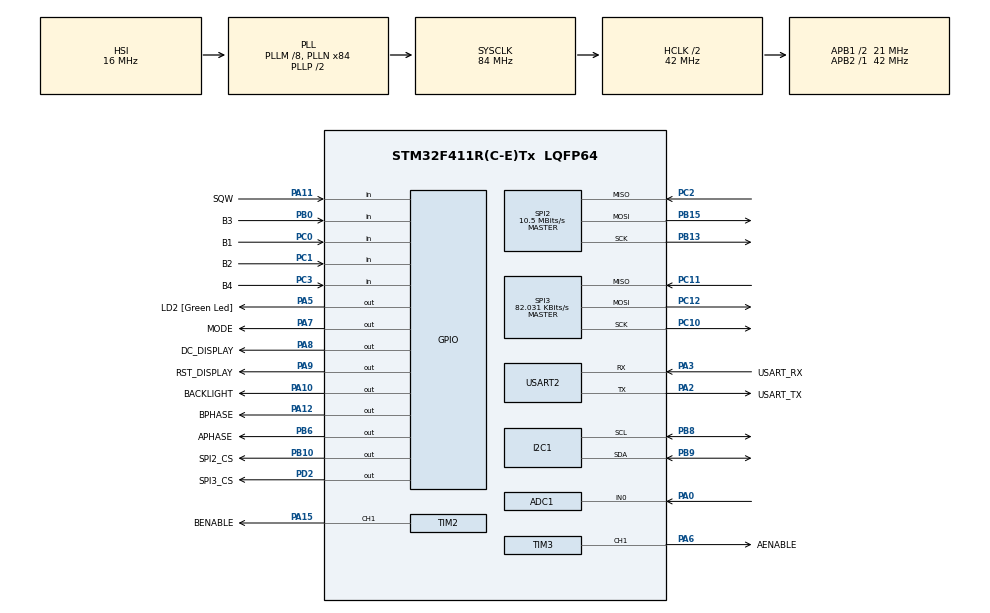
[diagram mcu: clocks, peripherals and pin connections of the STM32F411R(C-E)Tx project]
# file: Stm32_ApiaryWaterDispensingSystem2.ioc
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ADC1.Channel-0\#ChannelRegularConversion=ADC_CHANNEL_0
ADC1.NbrOfConversionFlag=1
ADC1.Rank-0\#ChannelRegularConversion=1
ADC1.SamplingTime-0\#ChannelRegularConversion=ADC_SAMPLETIME_3CYCLES
ADC1.master=1
Dma.MEMTOMEM.0.Direction=DMA_MEMORY_TO_MEMORY
Dma.MEMTOMEM.0.FIFOMode=DMA_FIFOMODE_ENABLE
Dma.MEMTOMEM.0.FIFOThreshold=DMA_FIFO_THRESHOLD_FULL
Dma.MEMTOMEM.0.Instance=DMA2_Stream0
Dma.MEMTOMEM.0.MemBurst=DMA_MBURST_SINGLE
Dma.MEMTOMEM.0.MemDataAlignment=DMA_MDATAALIGN_BYTE
Dma.MEMTOMEM.0.MemInc=DMA_MINC_ENABLE
Dma.MEMTOMEM.0.Mode=DMA_NORMAL
Dma.MEMTOMEM.0.PeriphBurst=DMA_PBURST_SINGLE
Dma.MEMTOMEM.0.PeriphDataAlignment=DMA_PDATAALIGN_BYTE
Dma.MEMTOMEM.0.PeriphInc=DMA_PINC_ENABLE
Dma.MEMTOMEM.0.Priority=DMA_PRIORITY_LOW
Dma.Request0=MEMTOMEM
FATFS._CODE_PAGE=852
FATFS._FS_TINY=0
FATFS._MAX_SS=512
FATFS._MIN_SS=512
FATFS._MULTI_PARTITION=0
FATFS._USE_CHMOD=0
FATFS._USE_EXPAND=0
FATFS._USE_FIND=0
FATFS._USE_MUTEX=1
FATFS._USE_TRIM=0
FREERTOS.BinarySemaphores01=BinarySemBme280,Dynamic,NULL;BinarySemBH1750,Dynamic,NULL;BinarySemRTC,Dynamic,NULL;BinarySemCounter,Dynamic,NULL;BinarySemSetAlarm,Dynamic,NULL;BinarySdCard,Dynamic,NULL;BinarySemINA219,Dynamic,NULL;BinaryDs3231,Dynamic,NULL;BinarySemIna219Bat,Dynamic,NULL;BinarySemSleep,Dynamic,NULL
FREERTOS.Mutexes01=MutexPrintf,Dynamic,NULL;MutexI2C,Dynamic,NULL;MutexRTC,Dynamic,NULL;MutexAlarm,Dynamic,NULL;MutexI2C2,Dynamic,NULL;MutexSdCard,Dynamic,NULL
FREERTOS.Queues01=QueueBme,5,BmeData_t,0,Dynamic,NULL,NULL;QueueBh1750,5,BHData_t,0,Dynamic,NULL,NULL;QueueRTCData,1,RTC_DateTypeDef,0,Dynamic,NULL,NULL;QueueRTCTime,5,RTC_TimeTypeDef,0,Dynamic,NULL,NULL;QueueCounterPump,1,CONFIG_MANAGER,0,Dynamic,NULL,NULL;QueueCounterAlarm,1,CONFIG_MANAGER,0,Dynamic,NULL,NULL;QueSDCARD,1,Data_Structure_t,0,Dynamic,NULL,NULL;QuequeBattery,2,INA219Data_t,0,Dynamic,NULL,NULL;QueDs3231Time,1,RTC_TimeTypeDef,0,Dynamic,NULL,NULL;QueueDs3231Date,1,RTC_DateTypeDef,0,Dynamic,NULL,NULL;QueuePV,1,INA219Data_t,0,Dynamic,NULL,NULL
FREERTOS.Tasks01=TaskRTC,24,2024,StartTaskRTC,Default,NULL,Dynamic,NULL,NULL;TaskBme280,25,512,StartTaskBme280,Default,NULL,Dynamic,NULL,NULL;TaskBH1750,24,512,StartTaskBH1750,Default,NULL,Dynamic,NULL,NULL;TaskSSD1306,24,4000,StartTaskSSD1306,Default,NULL,Dynamic,NULL,NULL;TaskPumpON,24,512,StartTaskPumpON,Default,NULL,Dynamic,NULL,NULL;TaskPumpOFF,24,256,StartTaskPumpOFF,Default,NULL,Dynamic,NULL,NULL;TaskCounterPump,24,1024,StartTaskCounterPump,Default,NULL,Dynamic,NULL,NULL;TaskAlarmCounte,24,512,StartTaskAlarmCounter,Default,NULL,Dynamic,NULL,NULL;TaskSdCard,24,3000,StartTaskSdCard,Default,NULL,Dynamic,NULL,NULL;TaskINA219,24,1024,StartTaskINA219,Default,NULL,Dynamic,NULL,NULL;TaskINA219PV,32,1024,StartTaskINA219PV,Default,NULL,Dynamic,NULL,NULL;TaskDS3231,40,1024,StartTaskDS3231,Default,NULL,Dynamic,NULL,NULL;TaskSleep,24,128,StartTaskSleep,Default,NULL,Dynamic,NULL,NULL
FREERTOS.Timers01=TimerBmeData,CallbackTimerBmeData,osTimerPeriodic,Default,NULL,Dynamic,NULL;TimerBh1750Data,CallbackTimerBh1750Data,osTimerPeriodic,Default,NULL,Dynamic,NULL;TimerRTC,CallbackTimerRTC,osTimerPeriodic,Default,NULL,Dynamic,NULL;TimerSDCard,CallbackTimerSDCard,osTimerPeriodic,Default,NULL,Dynamic,NULL;TimerINA219,CallbackTimerINA219,osTimerPeriodic,Default,NULL,Dynamic,NULL;TimerINA219Bat,CallbackTimerINA219Bat,osTimerPeriodic,Default,NULL,Dynamic,NULL;TIMER_Sleep,CallbackTimerSleep,osTimerPeriodic,Default,NULL,Dynamic,NULL
FREERTOS.configENABLE_FPU=1
FREERTOS.configMAX_TASK_NAME_LEN=20
FREERTOS.configTOTAL_HEAP_SIZE=75000
FREERTOS.configUSE_MALLOC_FAILED_HOOK=1
FREERTOS.configUSE_NEWLIB_REENTRANT=1
I2C1.I2C_Mode=I2C_Fast
Mcu.Family=STM32F4
Mcu.Name=STM32F411R(C-E)Tx
Mcu.Package=LQFP64
NVIC.PriorityGroup=NVIC_PRIORITYGROUP_4
NVIC.TIM1_UP_TIM10_IRQn=true\:15\:0\:false\:false\:true\:false\:false\:true\:true
NVIC.TimeBase=TIM1_UP_TIM10_IRQn
NVIC.TimeBaseIP=TIM10
PA0-WKUP.Signal=ADCx_IN0
PA10.GPIO_Label=BACKLIGHT
PA10.Signal=GPIO_Output
PA11.GPIO_Label=SQW
PA11.Signal=GPIO_Input
PA12.GPIO_Label=BPHASE
PA12.Signal=GPIO_Output
PA13.GPIO_Label=TMS
PA13.Mode=Serial_Wire
PA13.Signal=SYS_JTMS-SWDIO
PA14.GPIO_Label=TCK
PA14.Mode=Serial_Wire
PA14.Signal=SYS_JTCK-SWCLK
PA15.GPIO_Label=BENABLE
PA15.Signal=S_TIM2_CH1_ETR
PA2.GPIO_Label=USART_TX
PA2.Mode=Asynchronous
PA2.Signal=USART2_TX
PA3.GPIO_Label=USART_RX
PA3.Mode=Asynchronous
PA3.Signal=USART2_RX
PA5.GPIO_Label=LD2 [Green Led]
PA5.Signal=GPIO_Output
PA6.GPIO_Label=AENABLE
PA6.Signal=S_TIM3_CH1
PA7.GPIO_Label=MODE
PA7.Signal=GPIO_Output
PA8.GPIO_Label=DC_DISPLAY
PA8.Signal=GPIO_Output
PA9.GPIO_Label=RST_DISPLAY
PA9.Signal=GPIO_Output
PB0.GPIO_Label=B3
PB0.GPIO_PuPd=GPIO_PULLUP
PB0.Signal=GPIO_Input
PB10.GPIO_Label=SPI2_CS
PB10.GPIO_PuPd=GPIO_NOPULL
PB10.GPIO_Speed=GPIO_SPEED_FREQ_LOW
PB10.PinState=GPIO_PIN_RESET
PB10.Signal=GPIO_Output
PB13.Mode=Full_Duplex_Master
PB13.Signal=SPI2_SCK
PB15.Mode=Full_Duplex_Master
PB15.Signal=SPI2_MOSI
PB3.GPIO_Label=SWO
PB3.Signal=SYS_JTDO-SWO
PB6.GPIO_Label=APHASE
PB6.Signal=GPIO_Output
PB8.Mode=I2C
PB8.Signal=I2C1_SCL
PB9.Mode=I2C
PB9.Signal=I2C1_SDA
PC0.GPIO_Label=B1
PC0.GPIO_PuPd=GPIO_PULLUP
PC0.Signal=GPIO_Input
PC1.GPIO_Label=B2
PC1.GPIO_PuPd=GPIO_PULLUP
PC1.Signal=GPIO_Input
PC10.GPIO_PuPd=GPIO_NOPULL
PC10.Mode=Full_Duplex_Master
PC10.Signal=SPI3_SCK
PC11.GPIO_PuPd=GPIO_NOPULL
PC11.Mode=Full_Duplex_Master
PC11.Signal=SPI3_MISO
PC12.GPIO_PuPd=GPIO_NOPULL
PC12.Mode=Full_Duplex_Master
PC12.Signal=SPI3_MOSI
PC14-OSC32_IN.Mode=LSE-External-Oscillator
PC14-OSC32_IN.Signal=RCC_OSC32_IN
PC15-OSC32_OUT.Mode=LSE-External-Oscillator
PC15-OSC32_OUT.Signal=RCC_OSC32_OUT
PC2.Mode=Full_Duplex_Master
PC2.Signal=SPI2_MISO
PC3.GPIO_Label=B4
PC3.GPIO_PuPd=GPIO_PULLUP
PC3.Signal=GPIO_Input
PD2.GPIO_Label=SPI3_CS
PD2.Signal=GPIO_Output
PH0\ -\ OSC_IN.Mode=HSE-External-Clock-Source
PH0\ -\ OSC_IN.Signal=RCC_OSC_IN
PH1\ -\ OSC_OUT.Mode=HSE-External-Clock-Source
PH1\ -\ OSC_OUT.Signal=RCC_OSC_OUT
ProjectManager.HeapSize=0x400
ProjectManager.StackSize=0x800
ProjectManager.TargetToolchain=STM32CubeIDE
RCC.48MHZClocksFreq_Value=42000000
RCC.AHBCLKDivider=RCC_SYSCLK_DIV2
RCC.AHBFreq_Value=42000000
RCC.APB1CLKDivider=RCC_HCLK_DIV2
RCC.APB1Freq_Value=21000000
RCC.APB1TimFreq_Value=42000000
RCC.APB2Freq_Value=42000000
RCC.APB2TimFreq_Value=42000000
RCC.CortexFreq_Value=42000000
RCC.FLatency-AdvancedSettings=FLASH_LATENCY_1
RCC.HCLKFreq_Value=42000000
RCC.HSE_VALUE=8000000
RCC.HSI_VALUE=16000000
RCC.PLLM=8
RCC.PLLN=84
RCC.RCC_RTC_Clock_SourceVirtual=RCC_RTCCLKSOURCE_LSE
RCC.SYSCLKFreq_VALUE=84000000
RCC.SYSCLKSource=RCC_SYSCLKSOURCE_PLLCLK
RCC.VCOOutputFreq_Value=168000000
RTC.Date=30
RTC.DayLightSaving=RTC_DAYLIGHTSAVING_NONE
RTC.Format=RTC_FORMAT_BIN
RTC.Hours=7
RTC.Minutes=59
RTC.Month=RTC_MONTH_JULY
RTC.Seconds=30
RTC.StoreOperation=RTC_STOREOPERATION_RESET
RTC.WeekDay=RTC_WEEKDAY_TUESDAY
RTC.Year=24
SH.ADCx_IN0.0=ADC1_IN0,IN0
SH.S_TIM2_CH1_ETR.0=TIM2_CH1,PWM Generation1 CH1
SH.S_TIM3_CH1.0=TIM3_CH1,PWM Generation1 CH1
SPI2.CalculateBaudRate=10.5 MBits/s
SPI2.Direction=SPI_DIRECTION_2LINES
SPI2.Mode=SPI_MODE_MASTER
SPI2.VirtualType=VM_MASTER
SPI3.BaudRatePrescaler=SPI_BAUDRATEPRESCALER_256
SPI3.CalculateBaudRate=82.031 KBits/s
SPI3.Direction=SPI_DIRECTION_2LINES
SPI3.Mode=SPI_MODE_MASTER
SPI3.VirtualType=VM_MASTER
TIM2.Channel-PWM\ Generation1\ CH1=TIM_CHANNEL_1
TIM2.Period=99
TIM2.Prescaler=83
TIM2.TIM_MasterOutputTrigger=TIM_TRGO_UPDATE
TIM3.Channel-PWM\ Generation1\ CH1=TIM_CHANNEL_1
TIM3.Period=99
TIM3.Prescaler=83
TIM3.TIM_MasterOutputTrigger=TIM_TRGO_UPDATE
USART2.VirtualMode=VM_ASYNC
VP_FATFS_VS_Generic.Mode=User_defined
VP_FREERTOS_VS_CMSIS_V2.Mode=CMSIS_V2
VP_RTC_VS_RTC_Activate.Mode=RTC_Enabled
VP_RTC_VS_RTC_Calendar.Mode=RTC_Calendar
VP_SYS_VS_tim10.Mode=TIM10
VP_TIM2_VS_ClockSourceINT.Mode=Internal
VP_TIM3_VS_ClockSourceINT.Mode=Internal
board=NUCLEO-F411RE

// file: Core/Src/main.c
/* USER CODE BEGIN Header */
/**
  ******************************************************************************
  * @file           : main.c
  * @brief          : Main program body
  ******************************************************************************
  * @attention
  *
  * Copyright (c) 2024 STMicroelectronics.
  * All rights reserved.
  *
  * This software is licensed under terms that can be found in the LICENSE file
  * in the root directory of this software component.
  * If no LICENSE file comes with this software, it is provided AS-IS.
  *
  ******************************************************************************
  */
/* USER CODE END Header */
#include "main.h"
#include "cmsis_os.h"
#include "adc.h"
#include "dma.h"
#include "fatfs.h"
#include "i2c.h"
#include "rtc.h"
#include "spi.h"
#include "tim.h"
#include "usart.h"
#include "gpio.h"

/* USER CODE BEGIN Includes */
#include "button.h"
/* USER CODE END Includes */

void SystemClock_Config(void);
void MX_FREERTOS_Init(void);

int main(void)
{

  /* MCU Configuration--------------------------------------------------------*/

  /* Reset of all peripherals, Initializes the Flash interface and the Systick. */
  HAL_Init();

  /* Configure the system clock */
  SystemClock_Config();

  /* Initialize all configured peripherals */
  MX_GPIO_Init();
  MX_DMA_Init();
  MX_USART2_UART_Init();
  MX_I2C1_Init();
  MX_RTC_Init();
  MX_TIM3_Init();
  MX_SPI3_Init();
  MX_FATFS_Init();
  MX_TIM2_Init();
  MX_SPI2_Init();
  MX_ADC1_Init();

  /* Init scheduler */
  osKernelInitialize();  /* Call init function for freertos objects (in freertos.c) */
  MX_FREERTOS_Init();

  /* Start scheduler */
  osKernelStart();

  /* We should never get here as control is now taken by the scheduler */
  /* Infinite loop */
  while (1)
  {

  }
}

void SystemClock_Config(void)
{
  RCC_OscInitTypeDef RCC_OscInitStruct = {0};
  RCC_ClkInitTypeDef RCC_ClkInitStruct = {0};

  /** Configure the main internal regulator output voltage
  */
  __HAL_RCC_PWR_CLK_ENABLE();
  __HAL_PWR_VOLTAGESCALING_CONFIG(PWR_REGULATOR_VOLTAGE_SCALE1);

  /** Initializes the RCC Oscillators according to the specified parameters
  * in the RCC_OscInitTypeDef structure.
  */
  RCC_OscInitStruct.OscillatorType = RCC_OSCILLATORTYPE_HSI|RCC_OSCILLATORTYPE_LSE;
  RCC_OscInitStruct.LSEState = RCC_LSE_ON;
  RCC_OscInitStruct.HSIState = RCC_HSI_ON;
  RCC_OscInitStruct.HSICalibrationValue = RCC_HSICALIBRATION_DEFAULT;
  RCC_OscInitStruct.PLL.PLLState = RCC_PLL_ON;
  RCC_OscInitStruct.PLL.PLLSource = RCC_PLLSOURCE_HSI;
  RCC_OscInitStruct.PLL.PLLM = 8;
  RCC_OscInitStruct.PLL.PLLN = 84;
  RCC_OscInitStruct.PLL.PLLP = RCC_PLLP_DIV2;
  RCC_OscInitStruct.PLL.PLLQ = 4;
  if (HAL_RCC_OscConfig(&RCC_OscInitStruct) != HAL_OK)
  {
    Error_Handler();
  }

  /** Initializes the CPU, AHB and APB buses clocks
  */
  RCC_ClkInitStruct.ClockType = RCC_CLOCKTYPE_HCLK|RCC_CLOCKTYPE_SYSCLK
                              |RCC_CLOCKTYPE_PCLK1|RCC_CLOCKTYPE_PCLK2;
  RCC_ClkInitStruct.SYSCLKSource = RCC_SYSCLKSOURCE_PLLCLK;
  RCC_ClkInitStruct.AHBCLKDivider = RCC_SYSCLK_DIV2;
  RCC_ClkInitStruct.APB1CLKDivider = RCC_HCLK_DIV2;
  RCC_ClkInitStruct.APB2CLKDivider = RCC_HCLK_DIV1;

  if (HAL_RCC_ClockConfig(&RCC_ClkInitStruct, FLASH_LATENCY_1) != HAL_OK)
  {
    Error_Handler();
  }
}

void HAL_TIM_PeriodElapsedCallback(TIM_HandleTypeDef *htim)
{
  if (htim->Instance == TIM10) {
    HAL_IncTick();
  }
}

void Error_Handler(void)
{
  __disable_irq();
  while (1)
  {
  }
}

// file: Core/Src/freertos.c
/* USER CODE BEGIN Header */
/**
  ******************************************************************************
  * File Name          : freertos.c
  * Description        : Code for freertos applications
  ******************************************************************************
  * @attention
  *
  * Copyright (c) 2024 STMicroelectronics.
  * All rights reserved.
  *
  * This software is licensed under terms that can be found in the LICENSE file
  * in the root directory of this software component.
  * If no LICENSE file comes with this software, it is provided AS-IS.
  *
  ******************************************************************************
  */
/* USER CODE END Header */

#include "FreeRTOS.h"
#include "task.h"
#include "main.h"
#include "cmsis_os.h"

/* USER CODE BEGIN Includes */
#include "semphr.h"

#include "stm32f4xx_it.h"
#include "stm32f4xx_hal.h"
#include "stm32f4xx_hal_gpio_ex.h"
#include "stm32f4xx_hal_rtc_ex.h"
#include "stm32_hal_legacy.h"
#include "stm32f4xx_hal_gpio.h"
#include "stm32f4xx_hal_rtc.h"
#include "stm32f4xx_hal_i2c.h"

#include "stm32f4xx_hal_exti.h"
#include "stm32f4xx_hal_uart.h"

#include <stdio.h>
#include <printf.h>
#include <string.h>

#include "usart.h"
#include "gpio.h"
#include "i2c.h"
#include "spi.h"
#include "rtc.h"
#include "bme280.h"
#include "tim.h"
#include "SSD1306_OLED.h"
#include "drv8835.h"
#include "INA219.h"
#include "ds3231.h"

#include "bh1750.h"
#include "ff.h"
#include "ff_gen_drv.h"
#include "user_diskio_spi.h"
#include "user_diskio.h"
#include "GFX_BW.h"
#include "fonts/font_8x5.h"
/* USER CODE END Includes */

/* USER CODE BEGIN Variables */

typedef struct {
		uint8_t Hour;
		uint8_t Minutes;
		uint8_t Seconds;
		uint8_t Day;
		uint8_t Month;
		uint16_t Year;
}Ds3231_t;
typedef struct {
	float Humidity;
	float Temperature;
	int32_t Pressure;
} BmeData_t;

typedef struct{
	uint16_t VoltageBus;
	uint16_t VoltageShunt;
	uint16_t Power;
	int16_t Current;

}INA219Data_t;

typedef struct {
	char MessageTemp[32];
	char MessageHum[32];
    char MessageInten[32];
    char MessageTime[32];
    char MessageData[32];
	char MessageTimePump[32];
	char MessagePvVoltageBus[32];
	char MessagePVVoltageShunt[32];
	char MessagePVCurrent[32];
	char MessagePVPower[32];
	char MessageBatVoltageBus[32];
	char MessageBatVoltageShunt[32];
	char MessageBatCurrent[32];
	char MessageBatPower[32];
	char MessageFreqAlarm[32];

}Data_Structure_t;
typedef struct {
	float LightIntensity;

} BHData_t;

/* USER CODE END Variables */
/* Definitions for TaskRTC */
osThreadId_t TaskRTCHandle;
const osThreadAttr_t TaskRTC_attributes = {
  .name = "TaskRTC",
  .stack_size = 2024 * 4,
  .priority = (osPriority_t) osPriorityNormal,
};
/* Definitions for TaskBme280 */
osThreadId_t TaskBme280Handle;
const osThreadAttr_t TaskBme280_attributes = {
  .name = "TaskBme280",
  .stack_size = 512 * 4,
  .priority = (osPriority_t) osPriorityNormal1,
};
/* Definitions for TaskBH1750 */
osThreadId_t TaskBH1750Handle;
const osThreadAttr_t TaskBH1750_attributes = {
  .name = "TaskBH1750",
  .stack_size = 512 * 4,
  .priority = (osPriority_t) osPriorityNormal,
};
/* Definitions for TaskSSD1306 */
osThreadId_t TaskSSD1306Handle;
const osThreadAttr_t TaskSSD1306_attributes = {
  .name = "TaskSSD1306",
  .stack_size = 4000 * 4,
  .priority = (osPriority_t) osPriorityNormal,
};
/* Definitions for TaskPumpON */
osThreadId_t TaskPumpONHandle;
const osThreadAttr_t TaskPumpON_attributes = {
  .name = "TaskPumpON",
  .stack_size = 512 * 4,
  .priority = (osPriority_t) osPriorityNormal,
};
/* Definitions for TaskPumpOFF */
osThreadId_t TaskPumpOFFHandle;
const osThreadAttr_t TaskPumpOFF_attributes = {
  .name = "TaskPumpOFF",
  .stack_size = 256 * 4,
  .priority = (osPriority_t) osPriorityNormal,
};
/* Definitions for TaskCounterPump */
osThreadId_t TaskCounterPumpHandle;
const osThreadAttr_t TaskCounterPump_attributes = {
  .name = "TaskCounterPump",
  .stack_size = 1024 * 4,
  .priority = (osPriority_t) osPriorityNormal,
};
/* Definitions for TaskAlarmCounte */
osThreadId_t TaskAlarmCounteHandle;
const osThreadAttr_t TaskAlarmCounte_attributes = {
  .name = "TaskAlarmCounte",
  .stack_size = 512 * 4,
  .priority = (osPriority_t) osPriorityNormal,
};
/* Definitions for TaskSdCard */
osThreadId_t TaskSdCardHandle;
const osThreadAttr_t TaskSdCard_attributes = {
  .name = "TaskSdCard",
  .stack_size = 3000 * 4,
  .priority = (osPriority_t) osPriorityNormal,
};
/* Definitions for TaskINA219 */
osThreadId_t TaskINA219Handle;
const osThreadAttr_t TaskINA219_attributes = {
  .name = "TaskINA219",
  .stack_size = 1024 * 4,
  .priority = (osPriority_t) osPriorityNormal,
};
/* Definitions for TaskINA219PV */
osThreadId_t TaskINA219PVHandle;
const osThreadAttr_t TaskINA219PV_attributes = {
  .name = "TaskINA219PV",
  .stack_size = 1024 * 4,
  .priority = (osPriority_t) osPriorityAboveNormal,
};
/* Definitions for TaskDS3231 */
osThreadId_t TaskDS3231Handle;
const osThreadAttr_t TaskDS3231_attributes = {
  .name = "TaskDS3231",
  .stack_size = 1024 * 4,
  .priority = (osPriority_t) osPriorityHigh,
};
/* Definitions for TaskSleep */
osThreadId_t TaskSleepHandle;
const osThreadAttr_t TaskSleep_attributes = {
  .name = "TaskSleep",
  .stack_size = 128 * 4,
  .priority = (osPriority_t) osPriorityNormal,
};
/* Definitions for QueueBme */
osMessageQueueId_t QueueBmeHandle;
const osMessageQueueAttr_t QueueBme_attributes = {
  .name = "QueueBme"
};
/* Definitions for QueueBh1750 */
osMessageQueueId_t QueueBh1750Handle;
const osMessageQueueAttr_t QueueBh1750_attributes = {
  .name = "QueueBh1750"
};
/* Definitions for QueueRTCData */
osMessageQueueId_t QueueRTCDataHandle;
const osMessageQueueAttr_t QueueRTCData_attributes = {
  .name = "QueueRTCData"
};
/* Definitions for QueueRTCTime */
osMessageQueueId_t QueueRTCTimeHandle;
const osMessageQueueAttr_t QueueRTCTime_attributes = {
  .name = "QueueRTCTime"
};
/* Definitions for QueueCounterPump */
osMessageQueueId_t QueueCounterPumpHandle;
const osMessageQueueAttr_t QueueCounterPump_attributes = {
  .name = "QueueCounterPump"
};
/* Definitions for QueueCounterAlarm */
osMessageQueueId_t QueueCounterAlarmHandle;
const osMessageQueueAttr_t QueueCounterAlarm_attributes = {
  .name = "QueueCounterAlarm"
};
/* Definitions for QueSDCARD */
osMessageQueueId_t QueSDCARDHandle;
const osMessageQueueAttr_t QueSDCARD_attributes = {
  .name = "QueSDCARD"
};
/* Definitions for QuequeBattery */
osMessageQueueId_t QuequeBatteryHandle;
const osMessageQueueAttr_t QuequeBattery_attributes = {
  .name = "QuequeBattery"
};
/* Definitions for QueDs3231Time */
osMessageQueueId_t QueDs3231TimeHandle;
const osMessageQueueAttr_t QueDs3231Time_attributes = {
  .name = "QueDs3231Time"
};
/* Definitions for QueueDs3231Date */
osMessageQueueId_t QueueDs3231DateHandle;
const osMessageQueueAttr_t QueueDs3231Date_attributes = {
  .name = "QueueDs3231Date"
};
/* Definitions for QueuePV */
osMessageQueueId_t QueuePVHandle;
const osMessageQueueAttr_t QueuePV_attributes = {
  .name = "QueuePV"
};
/* Definitions for TimerBmeData */
osTimerId_t TimerBmeDataHandle;
const osTimerAttr_t TimerBmeData_attributes = {
  .name = "TimerBmeData"
};
/* Definitions for TimerBh1750Data */
osTimerId_t TimerBh1750DataHandle;
const osTimerAttr_t TimerBh1750Data_attributes = {
  .name = "TimerBh1750Data"
};
/* Definitions for TimerRTC */
osTimerId_t TimerRTCHandle;
const osTimerAttr_t TimerRTC_attributes = {
  .name = "TimerRTC"
};
/* Definitions for TimerSDCard */
osTimerId_t TimerSDCardHandle;
const osTimerAttr_t TimerSDCard_attributes = {
  .name = "TimerSDCard"
};
/* Definitions for TimerINA219 */
osTimerId_t TimerINA219Handle;
const osTimerAttr_t TimerINA219_attributes = {
  .name = "TimerINA219"
};
/* Definitions for TimerINA219Bat */
osTimerId_t TimerINA219BatHandle;
const osTimerAttr_t TimerINA219Bat_attributes = {
  .name = "TimerINA219Bat"
};
/* Definitions for TIMER_Sleep */
osTimerId_t TIMER_SleepHandle;
const osTimerAttr_t TIMER_Sleep_attributes = {
  .name = "TIMER_Sleep"
};
/* Definitions for MutexPrintf */
osMutexId_t MutexPrintfHandle;
const osMutexAttr_t MutexPrintf_attributes = {
  .name = "MutexPrintf"
};
/* Definitions for MutexI2C */
osMutexId_t MutexI2CHandle;
const osMutexAttr_t MutexI2C_attributes = {
  .name = "MutexI2C"
};
/* Definitions for MutexRTC */
osMutexId_t MutexRTCHandle;
const osMutexAttr_t MutexRTC_attributes = {
  .name = "MutexRTC"
};
/* Definitions for MutexAlarm */
osMutexId_t MutexAlarmHandle;
const osMutexAttr_t MutexAlarm_attributes = {
  .name = "MutexAlarm"
};
/* Definitions for MutexI2C2 */
osMutexId_t MutexI2C2Handle;
const osMutexAttr_t MutexI2C2_attributes = {
  .name = "MutexI2C2"
};
/* Definitions for MutexSdCard */
osMutexId_t MutexSdCardHandle;
const osMutexAttr_t MutexSdCard_attributes = {
  .name = "MutexSdCard"
};
/* Definitions for BinarySemBme280 */
osSemaphoreId_t BinarySemBme280Handle;
const osSemaphoreAttr_t BinarySemBme280_attributes = {
  .name = "BinarySemBme280"
};
/* Definitions for BinarySemBH1750 */
osSemaphoreId_t BinarySemBH1750Handle;
const osSemaphoreAttr_t BinarySemBH1750_attributes = {
  .name = "BinarySemBH1750"
};
/* Definitions for BinarySemRTC */
osSemaphoreId_t BinarySemRTCHandle;
const osSemaphoreAttr_t BinarySemRTC_attributes = {
  .name = "BinarySemRTC"
};
/* Definitions for BinarySemCounter */
osSemaphoreId_t BinarySemCounterHandle;
const osSemaphoreAttr_t BinarySemCounter_attributes = {
  .name = "BinarySemCounter"
};
/* Definitions for BinarySemSetAlarm */
osSemaphoreId_t BinarySemSetAlarmHandle;
const osSemaphoreAttr_t BinarySemSetAlarm_attributes = {
  .name = "BinarySemSetAlarm"
};
/* Definitions for BinarySdCard */
osSemaphoreId_t BinarySdCardHandle;
const osSemaphoreAttr_t BinarySdCard_attributes = {
  .name = "BinarySdCard"
};
/* Definitions for BinarySemINA219 */
osSemaphoreId_t BinarySemINA219Handle;
const osSemaphoreAttr_t BinarySemINA219_attributes = {
  .name = "BinarySemINA219"
};
/* Definitions for BinaryDs3231 */
osSemaphoreId_t BinaryDs3231Handle;
const osSemaphoreAttr_t BinaryDs3231_attributes = {
  .name = "BinaryDs3231"
};
/* Definitions for BinarySemIna219Bat */
osSemaphoreId_t BinarySemIna219BatHandle;
const osSemaphoreAttr_t BinarySemIna219Bat_attributes = {
  .name = "BinarySemIna219Bat"
};
/* Definitions for BinarySemSleep */
osSemaphoreId_t BinarySemSleepHandle;
const osSemaphoreAttr_t BinarySemSleep_attributes = {
  .name = "BinarySemSleep"
};

/* USER CODE BEGIN FunctionPrototypes */
void HAL_GPIO_EXTI_Callback(uint16_t GPIO_Pin);
void _putchar(char character);
/* USER CODE END FunctionPrototypes */

void StartTaskRTC(void *argument);
void StartTaskBme280(void *argument);
void StartTaskBH1750(void *argument);
void StartTaskSSD1306(void *argument);
void StartTaskPumpON(void *argument);
void StartTaskPumpOFF(void *argument);
void StartTaskCounterPump(void *argument);
void StartTaskAlarmCounter(void *argument);
void StartTaskSdCard(void *argument);
void StartTaskINA219(void *argument);
void StartTaskINA219PV(void *argument);
void StartTaskDS3231(void *argument);
void StartTaskSleep(void *argument);
void CallbackTimerBmeData(void *argument);
void CallbackTimerBh1750Data(void *argument);
void CallbackTimerRTC(void *argument);
void CallbackTimerSDCard(void *argument);
void CallbackTimerINA219(void *argument);
void CallbackTimerINA219Bat(void *argument);
void CallbackTimerSleep(void *argument);

void MX_FREERTOS_Init(void); /* (MISRA C 2004 rule 8.1) */

/* Hook prototypes */
void vApplicationMallocFailedHook(void);

/* USER CODE BEGIN 5 */
void vApplicationMallocFailedHook(void)
{
   /* vApplicationMallocFailedHook() will only be called if
   configUSE_MALLOC_FAILED_HOOK is set to 1 in FreeRTOSConfig.h. It is a hook
   function that will get called if a call to pvPortMalloc() fails.
   pvPortMalloc() is called internally by the kernel whenever a task, queue,
   timer or semaphore is created. It is also called by various parts of the
   demo application. If heap_1.c or heap_2.c are used, then the size of the
   heap available to pvPortMalloc() is defined by configTOTAL_HEAP_SIZE in
   FreeRTOSConfig.h, and the xPortGetFreeHeapSize() API function can be used
   to query the size of free heap space that remains (although it does not
   provide information on how the remaining heap might be fragmented). */
}
/* USER CODE END 5 */

void MX_FREERTOS_Init(void) {
  /* Create the mutex(es) */
  /* creation of MutexPrintf */
  MutexPrintfHandle = osMutexNew(&MutexPrintf_attributes);

  /* creation of MutexI2C */
  MutexI2CHandle = osMutexNew(&MutexI2C_attributes);

  /* creation of MutexRTC */
  MutexRTCHandle = osMutexNew(&MutexRTC_attributes);

  /* creation of MutexAlarm */
  MutexAlarmHandle = osMutexNew(&MutexAlarm_attributes);

  /* creation of MutexI2C2 */
  MutexI2C2Handle = osMutexNew(&MutexI2C2_attributes);

  /* creation of MutexSdCard */
  MutexSdCardHandle = osMutexNew(&MutexSdCard_attributes);

  /* Create the semaphores(s) */
  /* creation of BinarySemBme280 */
  BinarySemBme280Handle = osSemaphoreNew(1, 1, &BinarySemBme280_attributes);

  /* creation of BinarySemBH1750 */
  BinarySemBH1750Handle = osSemaphoreNew(1, 1, &BinarySemBH1750_attributes);

  /* creation of BinarySemRTC */
  BinarySemRTCHandle = osSemaphoreNew(1, 1, &BinarySemRTC_attributes);

  /* creation of BinarySemCounter */
  BinarySemCounterHandle = osSemaphoreNew(1, 1, &BinarySemCounter_attributes);

  /* creation of BinarySemSetAlarm */
  BinarySemSetAlarmHandle = osSemaphoreNew(1, 1, &BinarySemSetAlarm_attributes);

  /* creation of BinarySdCard */
  BinarySdCardHandle = osSemaphoreNew(1, 1, &BinarySdCard_attributes);

  /* creation of BinarySemINA219 */
  BinarySemINA219Handle = osSemaphoreNew(1, 1, &BinarySemINA219_attributes);

  /* creation of BinaryDs3231 */
  BinaryDs3231Handle = osSemaphoreNew(1, 1, &BinaryDs3231_attributes);

  /* creation of BinarySemIna219Bat */
  BinarySemIna219BatHandle = osSemaphoreNew(1, 1, &BinarySemIna219Bat_attributes);

  /* creation of BinarySemSleep */
  BinarySemSleepHandle = osSemaphoreNew(1, 1, &BinarySemSleep_attributes);

  /* Create the timer(s) */
  /* creation of TimerBmeData */
  TimerBmeDataHandle = osTimerNew(CallbackTimerBmeData, osTimerPeriodic, NULL, &TimerBmeData_attributes);

  /* creation of TimerBh1750Data */
  TimerBh1750DataHandle = osTimerNew(CallbackTimerBh1750Data, osTimerPeriodic, NULL, &TimerBh1750Data_attributes);

  /* creation of TimerRTC */
  TimerRTCHandle = osTimerNew(CallbackTimerRTC, osTimerPeriodic, NULL, &TimerRTC_attributes);

  /* creation of TimerSDCard */
  TimerSDCardHandle = osTimerNew(CallbackTimerSDCard, osTimerPeriodic, NULL, &TimerSDCard_attributes);

  /* creation of TimerINA219 */
  TimerINA219Handle = osTimerNew(CallbackTimerINA219, osTimerPeriodic, NULL, &TimerINA219_attributes);

  /* creation of TimerINA219Bat */
  TimerINA219BatHandle = osTimerNew(CallbackTimerINA219Bat, osTimerPeriodic, NULL, &TimerINA219Bat_attributes);

  /* creation of TIMER_Sleep */
  TIMER_SleepHandle = osTimerNew(CallbackTimerSleep, osTimerPeriodic, NULL, &TIMER_Sleep_attributes);

  /* Create the queue(s) */
  /* creation of QueueBme */
  QueueBmeHandle = osMessageQueueNew (5, sizeof(BmeData_t), &QueueBme_attributes);

  /* creation of QueueBh1750 */
  QueueBh1750Handle = osMessageQueueNew (5, sizeof(BHData_t), &QueueBh1750_attributes);

  /* creation of QueueRTCData */
  QueueRTCDataHandle = osMessageQueueNew (1, sizeof(RTC_DateTypeDef), &QueueRTCData_attributes);

  /* creation of QueueRTCTime */
  QueueRTCTimeHandle = osMessageQueueNew (5, sizeof(RTC_TimeTypeDef), &QueueRTCTime_attributes);

  /* creation of QueueCounterPump */
  QueueCounterPumpHandle = osMessageQueueNew (1, sizeof(CONFIG_MANAGER), &QueueCounterPump_attributes);

  /* creation of QueueCounterAlarm */
  QueueCounterAlarmHandle = osMessageQueueNew (1, sizeof(CONFIG_MANAGER), &QueueCounterAlarm_attributes);

  /* creation of QueSDCARD */
  QueSDCARDHandle = osMessageQueueNew (1, sizeof(Data_Structure_t), &QueSDCARD_attributes);

  /* creation of QuequeBattery */
  QuequeBatteryHandle = osMessageQueueNew (2, sizeof(INA219Data_t), &QuequeBattery_attributes);

  /* creation of QueDs3231Time */
  QueDs3231TimeHandle = osMessageQueueNew (1, sizeof(RTC_TimeTypeDef), &QueDs3231Time_attributes);

  /* creation of QueueDs3231Date */
  QueueDs3231DateHandle = osMessageQueueNew (1, sizeof(RTC_DateTypeDef), &QueueDs3231Date_attributes);

  /* creation of QueuePV */
  QueuePVHandle = osMessageQueueNew (1, sizeof(INA219Data_t), &QueuePV_attributes);

  /* Create the thread(s) */
  /* creation of TaskRTC */
  TaskRTCHandle = osThreadNew(StartTaskRTC, NULL, &TaskRTC_attributes);

  /* creation of TaskBme280 */
  TaskBme280Handle = osThreadNew(StartTaskBme280, NULL, &TaskBme280_attributes);

  /* creation of TaskBH1750 */
  TaskBH1750Handle = osThreadNew(StartTaskBH1750, NULL, &TaskBH1750_attributes);

  /* creation of TaskSSD1306 */
  TaskSSD1306Handle = osThreadNew(StartTaskSSD1306, NULL, &TaskSSD1306_attributes);

  /* creation of TaskPumpON */
  TaskPumpONHandle = osThreadNew(StartTaskPumpON, NULL, &TaskPumpON_attributes);

  /* creation of TaskPumpOFF */
  TaskPumpOFFHandle = osThreadNew(StartTaskPumpOFF, NULL, &TaskPumpOFF_attributes);

  /* creation of TaskCounterPump */
  TaskCounterPumpHandle = osThreadNew(StartTaskCounterPump, NULL, &TaskCounterPump_attributes);

  /* creation of TaskAlarmCounte */
  TaskAlarmCounteHandle = osThreadNew(StartTaskAlarmCounter, NULL, &TaskAlarmCounte_attributes);

  /* creation of TaskSdCard */
  TaskSdCardHandle = osThreadNew(StartTaskSdCard, NULL, &TaskSdCard_attributes);

  /* creation of TaskINA219 */
  TaskINA219Handle = osThreadNew(StartTaskINA219, NULL, &TaskINA219_attributes);

  /* creation of TaskINA219PV */
  TaskINA219PVHandle = osThreadNew(StartTaskINA219PV, NULL, &TaskINA219PV_attributes);

  /* creation of TaskDS3231 */
  TaskDS3231Handle = osThreadNew(StartTaskDS3231, NULL, &TaskDS3231_attributes);

  /* creation of TaskSleep */
  TaskSleepHandle = osThreadNew(StartTaskSleep, NULL, &TaskSleep_attributes);

}

void StartTaskRTC(void *argument)
{
  /* USER CODE BEGIN StartTaskRTC */
		extern RTC_HandleTypeDef hrtc;

	 	 RTC_TimeTypeDef _RTCTime ={0};

	 	 RTC_DateTypeDef _RTCDate = {0};

	 	 RTC_AlarmTypeDef _AlarmON, _AlarmOFF = {0};

	 	static uint8_t _PumpDispensing = 1;
	 	static uint8_t _AlarmPeriod = 1;
	 	uint8_t SdCard = 1;

	 	 _AlarmON.AlarmTime.Hours = 8 ;
	 	 _AlarmON.AlarmTime.Minutes = 0 ;
	 	_AlarmON.AlarmTime.Seconds = 0 ;

		 _AlarmOFF.AlarmTime.Hours = 8 ;
		 _AlarmOFF.AlarmTime.Minutes = 1 ;
		_AlarmOFF.AlarmTime.Seconds = 0 ;

		osThreadFlagsSet(TaskDS3231Handle, 0x00000100U);
	 	HAL_RTC_Init(&hrtc);

//		HAL_RTC_GetDate(&hrtc, &_RTCDate, RTC_FORMAT_BIN);
//		HAL_RTC_GetTime(&hrtc, &_RTCTime, RTC_FORMAT_BIN);

//		HAL_RTC_SetAlarm(&hrtc, &_AlarmON, RTC_FORMAT_BIN);
//		HAL_RTC_SetAlarm(&hrtc, &_AlarmOFF, RTC_FORMAT_BIN);

	// 	_RTCTime.Hours = 0x0;
	//    _RTCTime.Minutes =0x0;
	//	_RTCTime.Seconds =0x0;

		osMessageQueuePut(QueueCounterAlarmHandle, &_AlarmPeriod, 0, osWaitForever);
		osMessageQueuePut(QueueCounterPumpHandle, &_PumpDispensing, 0, osWaitForever);

	 	osTimerStart(TimerRTCHandle, 300);
	 	uint32_t tick4 = osKernelGetTickCount();
  /* Infinite loop */
  for(;;)
  {
	  //	  osMessageQueuePut(QueueCounterPumpHandle, &_PumpOperatingTime, 0, 10);
	  //	  osMessageQueuePut(QueueAlarmHandle, &_AlarmPeriod, 0, 10);

	      printf("Task RTC start \n\r ");
	      if(osOK== osMessageQueueGet(QueDs3231TimeHandle, &_RTCTime, 0, 50))
	      {
	    	  HAL_RTC_SetTime(&hrtc,&_RTCTime, RTC_FORMAT_BIN);
	    	  if (_RTCTime.Hours +1 <=22)
				  {  	  _AlarmON.AlarmTime.Hours = _RTCTime.Hours + 1  ;
						 _AlarmON.AlarmTime.Minutes = 0;
						_AlarmON.AlarmTime.Seconds = 0 ;

						 _AlarmOFF.AlarmTime.Hours = _RTCTime.Hours + 1 ;
						 _AlarmOFF.AlarmTime.Minutes = 1 ;
						 _AlarmOFF.AlarmTime.Seconds = 0 ;
				  }
	    	  else
				  {
					  _AlarmON.AlarmTime.Hours = 8 	;
					  _AlarmON.AlarmTime.Minutes = 0;
					  _AlarmON.AlarmTime.Seconds = 0 ;
					  _AlarmOFF.AlarmTime.Hours = 8 ;
					 _AlarmOFF.AlarmTime.Minutes = 1 ;
					 _AlarmOFF.AlarmTime.Seconds = 0 ;
				  }
	    	  HAL_RTC_SetAlarm(&hrtc, &_AlarmON, RTC_FORMAT_BIN);
	    	  HAL_RTC_SetAlarm(&hrtc, &_AlarmOFF, RTC_FORMAT_BIN);

	    	  HAL_RTC_GetTime(&hrtc, &_RTCTime, RTC_FORMAT_BIN);

	      }
	      else if(osOK == osMessageQueueGet(QueueDs3231DateHandle, &_RTCDate, 0, 50))
	      {
	    	  HAL_RTC_SetDate(&hrtc,&_RTCDate, RTC_FORMAT_BIN);
	    	  HAL_RTC_GetDate(&hrtc,&_RTCDate, RTC_FORMAT_BIN);
	      }
	      else
	      {
	    	  HAL_RTC_GetDate(&hrtc, &_RTCDate, RTC_FORMAT_BIN);
	    	  HAL_RTC_GetTime(&hrtc, &_RTCTime, RTC_FORMAT_BIN);
	      }

	  	if (osOK == osSemaphoreAcquire(BinarySemCounterHandle, 0))
	  	{
	  		osMessageQueueGet(QueueCounterPumpHandle, &_PumpDispensing, 0, osWaitForever);
//	  		_AlarmOFF.AlarmTime.Minutes = _PumpDispensing;

	  	}
	  	else if (osOK == osSemaphoreAcquire(BinarySemSetAlarmHandle, 0))
	  	{
	  		osMessageQueueGet(QueueCounterAlarmHandle, &_AlarmPeriod, 0, osWaitForever);
//	  			  		_AlarmOFF.AlarmTime.Minutes = _AlarmPeriod;
	  	}

	  ////	  osMessageQueueGet(QueueAlarmHandle, &_AlarmPeriod, 0, 10);
	  //	  if(osOK == osSemaphoreAcquire(BinarySemSetAlarmHandle, 0))
	  //		{
	  //
	  //		  	  osMessageQueueGet(QueueAlarmHandle, &_AlarmPeriod, 0, 100);
	  //		  	  osMessageQueueGet(QueueCounterPumpHandle, &_PumpOperatingTime, 0, 100);
	  //			  _AlarmOFF.AlarmTime.Minutes = _PumpOperatingTime.Minutes;
	  //			  HAL_RTC_SetAlarm(&hrtc, &_AlarmOFF, RTC_FORMAT_BIN);
	  //		}

	  	   if (_AlarmON.AlarmTime.Hours ==  _RTCTime.Hours && _AlarmON.AlarmTime.Minutes ==  _RTCTime.Minutes )
	  	  	  {
	  		      osMutexAcquire(MutexAlarmHandle, osWaitForever);
	  			  HAL_GPIO_WritePin(LD2_GPIO_Port, LD2_Pin,GPIO_PIN_SET);
	  			  osThreadFlagsSet(TaskPumpONHandle, 0x00000001U);
	  			  _AlarmON.AlarmTime.Hours = _AlarmON.AlarmTime.Hours + _AlarmPeriod;

	  			  if(_AlarmON.AlarmTime.Hours >= 22 || _AlarmON.AlarmTime.Hours <= 8)
	  				  {
	  					  _AlarmON.AlarmTime.Hours = 8;
	  				  }
	  			  HAL_RTC_SetAlarm(&hrtc, &_AlarmON, RTC_FORMAT_BIN);
	  			  osMutexRelease(MutexAlarmHandle);
	  	  	  }
	  	  else if(_AlarmOFF.AlarmTime.Hours ==  _RTCTime.Hours && _AlarmOFF.AlarmTime.Minutes ==  _RTCTime.Minutes )
	  	  	  {
	  		  	  osMutexAcquire(MutexAlarmHandle, osWaitForever);
	  			  HAL_GPIO_WritePin(LD2_GPIO_Port, LD2_Pin,GPIO_PIN_RESET);
	  			  osThreadFlagsSet(TaskPumpOFFHandle, 0x00000010U);

	  			  _AlarmOFF.AlarmTime.Hours = _AlarmOFF.AlarmTime.Hours + _AlarmPeriod;

	  			if(_AlarmOFF.AlarmTime.Hours >= 22 || _AlarmOFF.AlarmTime.Hours <= 8)
	  			  	 {
	  			  		  _AlarmOFF.AlarmTime.Hours = 8;
	  			  	 }

	  			  HAL_RTC_SetAlarm(&hrtc, &_AlarmOFF, RTC_FORMAT_BIN);
	  			  osMutexRelease(MutexAlarmHandle);

	  	  	  }
	  	  else if (_RTCTime.Hours == 23 && _RTCTime.Minutes == 59)
	  	  {
	  		osThreadFlagsSet(TaskDS3231Handle, 0x00000100U);
	  	  }

	  //	  if(RTCTime.Seconds != CompareSeconds)
	  //	  {
	  //
	  //
	  //		  CompareSeconds = RTCTime.Seconds;
	  //	  }
	  	  if (osOK == osSemaphoreAcquire(BinarySemRTCHandle, 0)) {
	  //	  	  			osMessageQueuePut(QueueRTCDataHandle, &_RTCDate, 0, osWaitForever);
	  	  	  			osMessageQueuePut(QueueRTCTimeHandle, &_RTCTime, 0, osWaitForever);
	  	  	  			osMessageQueuePut(QueueRTCDataHandle, &_RTCDate, 0, osWaitForever);
	  	  	  		}

	  	  printf("Task RTC exit \n\r ");
	  	  tick4 += ((220 * osKernelGetTickFreq()) / 1000);
	  	  osDelayUntil(tick4);

  }
  /* USER CODE END StartTaskRTC */
}

void StartTaskBme280(void *argument)
{
  /* USER CODE BEGIN StartTaskBme280 */
	BmeData_t _BmeData;
		uint32_t tick3;
		osMutexAcquire(MutexI2CHandle, osWaitForever);
		BME280_Init(&hi2c1, BME280_TEMPERATURE_16BIT, BME280_PRESSURE_ULTRALOWPOWER,
		BME280_HUMINIDITY_STANDARD, BME280_NORMALMODE);
		osDelay(100);
		BME280_SetConfig(BME280_STANDBY_MS_10, BME280_FILTER_OFF);
		osMutexRelease(MutexI2CHandle);
		osTimerStart(TimerBmeDataHandle, 400);

		tick3 = osKernelGetTickCount();
  /* Infinite loop */
  for(;;)
  {

	  osMutexAcquire(MutexI2CHandle, osWaitForever);
	  printf("TASK BME280 start\n\r ");
	  	  BME280_ReadTemperatureAndPressureAndHuminidity(&_BmeData.Temperature,
	  	  				&_BmeData.Pressure, &_BmeData.Humidity);
	  	printf("TASK BME280 exit\n\r ");
	  	  osMutexRelease(MutexI2CHandle);

	  	  if (osOK == osSemaphoreAcquire(BinarySemBme280Handle, 0)) {
	  	  			osMessageQueuePut(QueueBmeHandle, &_BmeData, 0, osWaitForever);
	  	  		}

	  //	  printf("Temperature: %.2f, Humidity: %.2f z \n\r", _BmeData.Temperature, _BmeData.Humidity);
	  //////    osDelay(100);
	  		tick3 += (335 * osKernelGetTickFreq()) / 1000;
	  		osDelayUntil(tick3);
  }
  /* USER CODE END StartTaskBme280 */
}

void StartTaskBH1750(void *argument)
{
  /* USER CODE BEGIN StartTaskBH1750 */
		uint32_t tick4;
		BHData_t _BHData;

		//	float BH1750_lux;

		osMutexAcquire(MutexI2CHandle, osWaitForever);
		BH1750_Init(&hi2c1);
		BH1750_SetMode(CONTINUOUS_HIGH_RES_MODE_2);
		osMutexRelease(MutexI2CHandle);

		osTimerStart(TimerBh1750DataHandle, 500);
		tick4 = osKernelGetTickCount();
  /* Infinite loop */
  for(;;)
  {

	  osMutexAcquire(MutexI2CHandle, osWaitForever);
	  printf("TASK BH1750 start \n\r ");
	 	  		BH1750_ReadLight(&_BHData.LightIntensity);
	 	  //	  	  printf("Light: %.2f \n\r", _BhData.LightIntensity);
	 	  		printf("TASK BH1750 exit \n\r ");
	 	  		osMutexRelease(MutexI2CHandle);

	 	  		if (osOK == osSemaphoreAcquire(BinarySemBH1750Handle, 0)) {
	 	  			osMessageQueuePut(QueueBh1750Handle, &_BHData, 0, osWaitForever);
	 	  		}
	 	  //	  	 	  if(BH1750_OK == BH1750_ReadLight(&BH1750_lux))
	 	  //	  	 	  	  {
	 	  //	  	 	  		  size = sprintf(buffer, "BH1750 Lux: %.2f\n\r", BH1750_lux);
	 	  //	  	 	  	  	  HAL_UART_Transmit(&huart2, (uint8_t*)buffer, size, 100);
	 	  //	  	 	  	  }

	 	  		tick4 += ((325 * osKernelGetTickFreq()) / 1000);
	 	  		osDelayUntil(tick4);
  }
  /* USER CODE END StartTaskBH1750 */
}

void StartTaskSSD1306(void *argument)
{
  /* USER CODE BEGIN StartTaskSSD1306 */
	Data_Structure_t _DataStructure;
	Data_Structure_t *PointerData =&_DataStructure;

	BmeData_t _BmeData;
	BHData_t _BHData;
	INA219Data_t _INA219_Battery ={0};
	INA219Data_t _INA219_PV ={0};

	RTC_TimeTypeDef _RTCTime2 = {0};
	 _RTCTime2.DayLightSaving = RTC_DAYLIGHTSAVING_NONE;
	 	 _RTCTime2.StoreOperation = RTC_STOREOPERATION_RESET;
	RTC_DateTypeDef _RTCData2 = {0};
	uint8_t _AlarmPeriod = 1;

	uint8_t _PumpDispensing = 1;

	uint32_t tick2;

	osMutexAcquire(MutexI2C2Handle, osWaitForever);
	SSD1306_Init(&hi2c1);
	osMutexRelease(MutexI2C2Handle);

	GFX_SetFont(font_8x5);
	SSD1306_Clear(BLACK);
	SSD1306_Display();

	osTimerStart(TimerSDCardHandle, 300000);
	tick2 = osKernelGetTickCount();
  /* Infinite loop */
  for(;;)
  {
	  	  SSD1306_Clear(BLACK);
	  	  osMessageQueueGet(QueueBmeHandle, &_BmeData, 0, 50);
	  	  printf("1\n\r");
	  	  osMessageQueueGet(QueueBh1750Handle, &_BHData, 0, 50);
	  	  printf("2\n\r");
	  //	  osMessageQueueGet(QueueRTCDataHandle, &_RTCDate, 0,osWaitForever);

	  	  osMessageQueueGet(QuequeBatteryHandle, &_INA219_Battery, 0, 50);
	      printf("3\n\r");
	      osMessageQueueGet(QueuePVHandle, &_INA219_PV, 0, 100);
	    	  	  printf("4\n\r");
	  	  if (osOK == osMessageQueueGet(QueueRTCTimeHandle, &_RTCTime2, 0, 50))
	  	  {

	  		  printf("5\n\r");
	  	  }

	  	  if(osOK == osMessageQueueGet(QueueRTCDataHandle, &_RTCData2, 0, 50))
	  	  {

	  		  printf("6\n\r");
	  	  }

	  	  if(osOK== osMessageQueueGet(QueueCounterPumpHandle, &_PumpDispensing, 0, 50))
	  	  {

	  		  osMessageQueuePut(QueueCounterPumpHandle, &_PumpDispensing, 0, osWaitForever);
	  		  osSemaphoreRelease(BinarySemCounterHandle);
	  	  }

	  	  else 	if(osOK== osMessageQueueGet(QueueCounterAlarmHandle, &_AlarmPeriod, 0, 50))
	  	 {

	  		   osMessageQueuePut(QueueCounterAlarmHandle, &_AlarmPeriod, 0, osWaitForever);
	  		   osSemaphoreRelease(BinarySemSetAlarmHandle);

	  	 }

//	  	   osMessageQueueGet(QueueCounterAlarmHandle, &_AlarmPeriod, 0, 50);

//	  	   osMessageQueuePut(QueueCounterPumpHandle, &_PumpOperatingTime, 0, osWaitForever);
	  	  sprintf(PointerData->MessageData, "Data: %02d.%02d.%02d;",_RTCData2.Date,_RTCData2.Month,_RTCData2.Year);
	      sprintf(PointerData->MessageTime, "%02d:%02d:%02d;",_RTCTime2.Hours,_RTCTime2.Minutes,_RTCTime2.Seconds);
	  	  sprintf(PointerData->MessageTemp, "T:%.2f C; ", _BmeData.Temperature);
	  	  sprintf(PointerData->MessageHum, "%.2f %;", _BmeData.Humidity);
	  	  sprintf(PointerData->MessageInten, "%.2f lx;", _BHData.LightIntensity);
	  	  sprintf(PointerData->MessageBatVoltageBus,"B:%u mV;", _INA219_Battery.VoltageBus);
	  	  sprintf(PointerData->MessageBatVoltageShunt,"B s:%u;",_INA219_Battery.VoltageShunt);
	  	  sprintf(PointerData->MessageBatCurrent,"B:%d mA;",_INA219_Battery.Current);
	  	  sprintf(PointerData->MessageBatPower,"B:%d mW;",_INA219_Battery.Power);
	  	  sprintf(PointerData->MessagePvVoltageBus,"P:%umV;",_INA219_PV.VoltageBus);
	      sprintf(PointerData->MessagePVVoltageShunt,"PV Voltage shunt: %u;",_INA219_PV.VoltageShunt);
	  	  sprintf(PointerData->MessagePVCurrent,"P:%d mA;",_INA219_PV.Current);
	  	  sprintf(PointerData->MessagePVPower,"P:%u mW;",_INA219_PV.Power);
	  	  //  sprintf(MessageData, "Data: %02d.%02d.20%02d  Time: %02d:%02d:%02d:%02d",_RTCDate.Date,_RTCDate.Month,_RTCDate.Year,_RTCTime.Hours,_RTCTime.Minutes,_RTCTime.Seconds);

	  	  sprintf(PointerData->MessageTimePump, "Pump:%02dMin;",_PumpDispensing);
	  	  sprintf(PointerData->MessageFreqAlarm, "Alarm:%02dH;", _AlarmPeriod);

	  	if (osOK == osSemaphoreAcquire(BinarySdCardHandle, 0)) {
	  		  	  			osMessageQueuePut(QueSDCARDHandle,PointerData, 0, 50);
	  		  	  		}

	  	  GFX_DrawString(0, 0, PointerData->MessageTime, WHITE, 0);
	  	  GFX_DrawString(70,0, PointerData->MessageBatVoltageBus,WHITE,0);
	  	  GFX_DrawString(0, 10, PointerData->MessageTemp, WHITE, 0);
	  	 GFX_DrawString(70,10, PointerData->MessageBatCurrent,WHITE,0);
	  	  GFX_DrawString(0, 20, PointerData->MessageHum, WHITE, 0);
	  	GFX_DrawString(70,20, PointerData->MessageBatPower,WHITE,0);
	  	  GFX_DrawString(0, 30, PointerData->MessageInten, WHITE, 0);
	  	 GFX_DrawString(70,30, PointerData->MessagePvVoltageBus,WHITE,0);
	  	  GFX_DrawString(0, 40, PointerData->MessageTimePump, WHITE, 0);
	  	GFX_DrawString(70,40, PointerData->MessagePVCurrent,WHITE,0);
	  	  GFX_DrawString(0, 50, PointerData->MessageFreqAlarm, WHITE, 0);
	  	GFX_DrawString(70,50, PointerData->MessagePVPower,WHITE,0);

	  	  SSD1306_Display();

	  	  printf("TASK OLED \n\r");

	  //		printf("TASK OLED I2C MUTEX is released \n\r");
	        tick2 += (600 * osKernelGetTickFreq()) / 1000;
	  	  osDelayUntil(tick2);
  }
  /* USER CODE END StartTaskSSD1306 */
}

void StartTaskPumpON(void *argument)
{
  /* USER CODE BEGIN StartTaskPumpON */
	drv8835_init();
  /* Infinite loop */
  for(;;)
  {

	  osThreadFlagsWait(0x00000001U, osFlagsWaitAll, osWaitForever);

	  drv8835_set_motorA_speed(99);
	  osThreadFlagsClear(0x00000001U);
  }
  /* USER CODE END StartTaskPumpON */
}

void StartTaskPumpOFF(void *argument)
{
  /* USER CODE BEGIN StartTaskPumpOFF */
  /* Infinite loop */
  for(;;)
  {
	  osThreadFlagsWait(0x00000010U, osFlagsWaitAll, osWaitForever);

	  	  drv8835_set_motorA_speed(0);

  }
  /* USER CODE END StartTaskPumpOFF */
}

void StartTaskCounterPump(void *argument)
{
  /* USER CODE BEGIN StartTaskCounterPump */
	static uint8_t _PumpDipensing = 1;
	uint32_t tick = osKernelGetTickCount();
  /* Infinite loop */
  for(;;)
  {
	  if(HAL_GPIO_ReadPin(B1_GPIO_Port, B1_Pin)== GPIO_PIN_RESET)
	 	  {
	 	  	  _PumpDipensing= _PumpDipensing + 1;
	 	  		if(_PumpDipensing >=60)
	 	  		{
	 	  			_PumpDipensing = 1;
	 	  		}
	 	  		osMessageQueuePut(QueueCounterPumpHandle, &_PumpDipensing , 0, 50);
	 	  }
	 	  else if(HAL_GPIO_ReadPin(B2_GPIO_Port, B2_Pin)== GPIO_PIN_RESET)
	 	  {
	 		  _PumpDipensing= _PumpDipensing -1;
	 		 	  		if(_PumpDipensing <=0)
	 		 	  		{
	 		 	  			_PumpDipensing = 59;
	 		 	  		}
	 		   osMessageQueuePut(QueueCounterPumpHandle, &_PumpDipensing , 0, 50);
	 	  }

	 	  	  	tick += (220 * osKernelGetTickFreq()) / 1000;
	 	  	  	osDelayUntil(tick);
  }
  /* USER CODE END StartTaskCounterPump */
}

void StartTaskAlarmCounter(void *argument)
{
  /* USER CODE BEGIN StartTaskAlarmCounter */
	static uint8_t _AlarmPeriod = 1;
	uint32_t tick = osKernelGetTickCount();
  /* Infinite loop */
  for(;;)
  {
	  	  	  if(HAL_GPIO_ReadPin(B3_GPIO_Port, B3_Pin)== GPIO_PIN_RESET)
	 	 	  {
	 	 	  	  _AlarmPeriod= _AlarmPeriod + 1;
	 	 	  		if(_AlarmPeriod >=16)
	 	 	  		{
	 	 	  			_AlarmPeriod = 1;
	 	 	  		}
	 	 	  		osMessageQueuePut(QueueCounterAlarmHandle, &_AlarmPeriod , 0, 50);
	 	 	  }
	 	 	  else if(HAL_GPIO_ReadPin(B4_GPIO_Port, B4_Pin)== GPIO_PIN_RESET)
	 	 	  {
	 	 		  _AlarmPeriod= _AlarmPeriod - 1;
	 	 		 	  		if(_AlarmPeriod <=0)
	 	 		 	  		{
	 	 		 	  			_AlarmPeriod = 16;
	 	 		 	  		}
	 	 		   osMessageQueuePut(QueueCounterAlarmHandle, &_AlarmPeriod , 0, 50);
	 	 	  }

	 	 	  	  	tick += (200 * osKernelGetTickFreq()) / 1000;
	 	 	  	  	osDelayUntil(tick);
  }
  /* USER CODE END StartTaskAlarmCounter */
}

void StartTaskSdCard(void *argument)
{
  /* USER CODE BEGIN StartTaskSdCard */

	FRESULT FatFsResult;
	FATFS SdFatFs;
	FIL SdCardFile;

	uint8_t bytes;
	char data[128];

	Data_Structure_t _Data_StructureGet = {0};
	Data_Structure_t *PointerDataZ = &_Data_StructureGet;

	uint32_t tick = osKernelGetTickCount();
  /* Infinite loop */
  for(;;)
  {

	  	  	 if (osOK == osMessageQueueGet(QueSDCARDHandle, PointerDataZ, 0, osWaitForever))
	  	  	 {

				  FatFsResult = f_mount(&SdFatFs, "", 1);
				  if(FatFsResult != FR_OK)
				  {
					  bytes = sprintf(data, "FatFS mount error.\n\r");
					  HAL_UART_Transmit(&huart2, (uint8_t*)data, bytes, 1000);
				  }

				  else
				  {
					  bytes = sprintf(data, "FatFS mounted.\n\r");
					  HAL_UART_Transmit(&huart2, (uint8_t*)data, bytes, 1000);

					  //
					  // Open file on SD for writing
					  //

					  FatFsResult = f_open(&SdCardFile, "badania4.csv", FA_WRITE|FA_OPEN_APPEND);

					  //
					  // File open error check
					  //
					  if(FatFsResult != FR_OK)
					  {
						  bytes = sprintf(data, "No badaniam.csv file. Can't create.\n\r");
						  HAL_UART_Transmit(&huart2, (uint8_t*)data, bytes, 1000);
					  }

					  else
					  {

						  bytes = sprintf(data, "File opened.\n\r");
						  HAL_UART_Transmit(&huart2, (uint8_t*)data, bytes, 1000);

						  //
						  //	Print something to this file
						  //
						  f_printf(&SdCardFile,PointerDataZ->MessageData);
						  f_printf(&SdCardFile,PointerDataZ->MessageTime);
						  f_printf(&SdCardFile,PointerDataZ->MessageTemp);
						  f_printf(&SdCardFile,PointerDataZ->MessageHum);
						  f_printf(&SdCardFile,PointerDataZ->MessageInten);
						  f_printf(&SdCardFile,PointerDataZ->MessageBatVoltageBus);
						  f_printf(&SdCardFile,PointerDataZ->MessageBatVoltageShunt);
						  f_printf(&SdCardFile,PointerDataZ->MessageBatCurrent);
						  f_printf(&SdCardFile,PointerDataZ->MessageBatPower);
						  f_printf(&SdCardFile,PointerDataZ->MessagePvVoltageBus);
						  f_printf(&SdCardFile,PointerDataZ->MessagePVVoltageShunt);
						  f_printf(&SdCardFile,PointerDataZ->MessagePVCurrent);
						  f_printf(&SdCardFile,PointerDataZ->MessagePVPower);

						  f_printf(&SdCardFile,PointerDataZ->MessageTimePump);
						  f_printf(&SdCardFile,PointerDataZ->MessageFreqAlarm);
						  f_printf(&SdCardFile,"\n");

			  //  		  for(uint8_t i = 0; i < 10; i++)
			  //  		  {
			  //  			  f_printf(&SdCardFile, "Line number %d;", i);
			  //  		  }

						  //
						  // Close file
						  //
						  FatFsResult = f_close(&SdCardFile);

						  bytes = sprintf(data, "File closed!!!!!!!!!!!!!!!!!!!!!!!!!!!!!!!!!!!!.\n\r");
						  HAL_UART_Transmit(&huart2, (uint8_t*)data, bytes, 1000);

						 //
								  // Open file on SD for reading
								  //
	//					  FatFsResult = f_open(&SdCardFile, "badaniaFreertos.csv", FA_READ);
	//					  if(FatFsResult != FR_OK)
	//				  {
	//						  bytes = sprintf(data, "No badaniaFreertos.csv file. Can't create.\n\r");
	//						HAL_UART_Transmit(&huart2, (uint8_t*)data, bytes, 1000);
	//				  }
	//					else
	//						{
	//						UINT len;
	//
	//							do
	//							{
	//								len=0;
	//								f_read(&SdCardFile, data,10,&len);
	//								HAL_UART_Transmit(&huart2, (uint8_t*)data, len, 1000);
	//							} while (len >0);
	//
	//						  FatFsResult = f_close(&SdCardFile);
	//						  bytes = sprintf(data, "File closed.\n\r");
	//						  HAL_UART_Transmit(&huart2, (uint8_t*)data, bytes, 1000);
	//						}

					  }
				  	  }

			  }

			tick += (150000 * osKernelGetTickFreq()) / 1000;
				  	 	 	  	  	osDelayUntil(tick);
  }
  /* USER CODE END StartTaskSdCard */
}

void StartTaskINA219(void *argument)
{
  /* USER CODE BEGIN StartTaskINA219 */

	INA219_t ina219_2;
	ina219_calibration ina219_calibration;
	ina219_calibration.ina219_calibrationValue = 4096;
	ina219_calibration.ina219_currentDivider_mA = 10; // Current LSB = 100uA per bit (1000/100 = 10)
	ina219_calibration.ina219_powerMultiplier_mW = 2; // Power LSB = 1mW per bit (2/1)
//	ina219_calibration.ina219_calibrationValue = 8192;
//		ina219_calibration.ina219_currentDivider_mA = 20; // Current LSB = 100uA per bit (1000/100 = 10)
//		ina219_calibration.ina219_powerMultiplier_mW = 1.0f; // Power LSB = 1mW per bit (2/1)
	INA219Data_t _ina219;
	INA219Data_t *INA_219_pointer2 = &_ina219;

	 osMutexAcquire(MutexI2CHandle, osWaitForever);
	 INA219_Init(&ina219_2, &hi2c1, INA219_ADDRESS_BAT,&ina219_calibration);
	 INA219_setCalibration_32V_2A(&ina219_2,&ina219_calibration);

	 osMutexRelease(MutexI2CHandle);
	osTimerStart(TimerINA219BatHandle, 450);
	uint32_t tick = osKernelGetTickCount();
  /* Infinite loop */
  for(;;)
  {

	  	  osMutexAcquire(MutexI2CHandle, osWaitForever);
	  	  printf("INA219 Mutex Acquire\n\r");
		  INA_219_pointer2->VoltageBus = INA219_ReadBusVoltage(&ina219_2);
		  INA_219_pointer2->VoltageShunt = INA219_ReadShuntVolage(&ina219_2);
		  INA_219_pointer2->Current =  INA219_ReadCurrent(&ina219_2);
		  INA_219_pointer2->Power = INA219_ReadPower(&ina219_2, &ina219_calibration);
		 //

//
		  osMutexRelease(MutexI2CHandle);
		  printf("INA219 Mutex Released\n\r");
//
		  if (osOK == osSemaphoreAcquire(BinarySemIna219BatHandle, 0)) {
		  	 	  			osMessageQueuePut(QuequeBatteryHandle, INA_219_pointer2, 0, osWaitForever);
		  	 	  		}
		  printf("INA219 exit \n\r");
//

	  tick+=(365*osKernelGetTickFreq())/1000;
	  osDelayUntil(tick);
  }
  /* USER CODE END StartTaskINA219 */
}

void StartTaskINA219PV(void *argument)
{
  /* USER CODE BEGIN StartTaskINA219PV */

	INA219_t ina219;
	ina219_calibration ina219_calibration2;
	ina219_calibration2.ina219_calibrationValue = 4096;
	ina219_calibration2.ina219_currentDivider_mA = 10; // Current LSB = 100uA per bit (1000/100 = 10)
	ina219_calibration2.ina219_powerMultiplier_mW = 2; // Power LSB = 1mW per bit (2/1)
//	ina219_calibration.ina219_calibrationValue = 8192;
//		ina219_calibration.ina219_currentDivider_mA = 20; // Current LSB = 100uA per bit (1000/100 = 10)
//		ina219_calibration.ina219_powerMultiplier_mW = 1.0f; // Power LSB = 1mW per bit (2/1)
	INA219Data_t _ina219_2;
	INA219Data_t *INA_219_pointer_2 = &_ina219_2;

	 osMutexAcquire(MutexI2CHandle, osWaitForever);
	 INA219_Init(&ina219, &hi2c1, INA219_ADDRESS_PV,&ina219_calibration2);
	 INA219_setCalibration_32V_2A(&ina219,&ina219_calibration2);

	 osMutexRelease(MutexI2CHandle);
	osTimerStart(TimerINA219Handle, 425);
	uint32_t tick = osKernelGetTickCount();
  /* Infinite loop */
  for(;;)
  {

  	  osMutexAcquire(MutexI2CHandle, osWaitForever);
  	  printf("INA219 Mutex Acquire\n\r");
  	INA_219_pointer_2->VoltageBus = INA219_ReadBusVoltage(&ina219);
  	INA_219_pointer_2->VoltageShunt = INA219_ReadShuntVolage(&ina219);
  	INA_219_pointer_2->Current =  INA219_ReadCurrent(&ina219);
  	INA_219_pointer_2->Power = INA219_ReadPower(&ina219, &ina219_calibration2);
	 //

//
	  osMutexRelease(MutexI2CHandle);
	  printf("INA219 Mutex Released\n\r");
//
	  if (osOK == osSemaphoreAcquire(BinarySemINA219Handle, 0)) {
	  	 	  			osMessageQueuePut(QueuePVHandle, INA_219_pointer_2, 0, osWaitForever);
	  	 	  		}
	  printf("INA219 exit \n\r");
//

	  tick+=(325*osKernelGetTickFreq())/1000;
	  osDelayUntil(tick);
  }
  /* USER CODE END StartTaskINA219PV */
}

void StartTaskDS3231(void *argument)
{
  /* USER CODE BEGIN StartTaskDS3231 */

			Ds3231_t _Ds3231;

			RTC_TimeTypeDef _RTCTime1 = {0};
			RTC_DateTypeDef _RTCDate1 = {0};

			DS3231_Init(&hi2c1);
	//	  DS3231_SetRateSelect(DS3231_1HZ);

  /* Infinite loop */
  for(;;)
  {
	  	  	  osThreadFlagsWait(0x00000100U, osFlagsWaitAll, osWaitForever);

	 	  	  osMutexAcquire(MutexI2CHandle, osWaitForever);
	 	  	 _RTCDate1.Year = DS3231_GetYear() -2000;
	 		 _RTCDate1.Month = DS3231_GetMonth();
	 		 _RTCDate1.Date = DS3231_GetDate();

	 	  	  _RTCTime1.Hours = DS3231_GetHour();
	 	  	  _RTCTime1.Minutes = DS3231_GetMinute();
	 	  	  _RTCTime1.Seconds =  DS3231_GetSecond();

	 		  osMutexRelease(MutexI2CHandle);

	 		  osMessageQueuePut(QueDs3231TimeHandle, &_RTCTime1, 0, osWaitForever);
	 		  osMessageQueuePut(QueueDs3231DateHandle, &_RTCDate1, 0, osWaitForever);

	 		  printf(" Date: %d: %d: %d\n\r", _RTCDate1.Year, _RTCDate1.Month, _RTCDate1.Date );
	 		  printf(" time: %d: %d: %d\n\r", _RTCTime1.Hours, _RTCTime1.Minutes, _RTCTime1.Seconds );
	 //		  osThreadFlagsClear(0x00000100U);
	 		  osThreadFlagsClear(0x00000100U);
  }
  /* USER CODE END StartTaskDS3231 */
}

void StartTaskSleep(void *argument)
{
  for(;;)
  {
    osDelay(1);
  }
}

/* CallbackTimerBmeData function */
void CallbackTimerBmeData(void *argument)
{
  /* USER CODE BEGIN CallbackTimerBmeData */
	osSemaphoreRelease(BinarySemBme280Handle);
  /* USER CODE END CallbackTimerBmeData */
}

/* CallbackTimerBh1750Data function */
void CallbackTimerBh1750Data(void *argument)
{
  /* USER CODE BEGIN CallbackTimerBh1750Data */
	osSemaphoreRelease(BinarySemBH1750Handle);
  /* USER CODE END CallbackTimerBh1750Data */
}

/* CallbackTimerRTC function */
void CallbackTimerRTC(void *argument)
{
  /* USER CODE BEGIN CallbackTimerRTC */
	osSemaphoreRelease(BinarySemRTCHandle);
  /* USER CODE END CallbackTimerRTC */
}

/* CallbackTimerSDCard function */
void CallbackTimerSDCard(void *argument)
{
  /* USER CODE BEGIN CallbackTimerSDCard */
	osSemaphoreRelease(BinarySdCardHandle);
  /* USER CODE END CallbackTimerSDCard */
}

/* CallbackTimerINA219 function */
void CallbackTimerINA219(void *argument)
{
  /* USER CODE BEGIN CallbackTimerINA219 */
	osSemaphoreRelease(BinarySemINA219Handle);
  /* USER CODE END CallbackTimerINA219 */
}

/* CallbackTimerINA219Bat function */
void CallbackTimerINA219Bat(void *argument)
{
  /* USER CODE BEGIN CallbackTimerINA219Bat */
	osSemaphoreRelease(BinarySemIna219BatHandle);
  /* USER CODE END CallbackTimerINA219Bat */
}

/* CallbackTimerSleep function */
void CallbackTimerSleep(void *argument)
{
}

/* USER CODE BEGIN Application */

//void HAL_GPIO_EXTI_Callback(uint16_t GPIO_Pin)
//{
//	static uint8_t _PumpDipensing = 1;
//
//
//
//	if(GPIO_Pin == B1_Pin)
//	{
//
//		_PumpDipensing= _PumpDipensing + 1;
//		if(_PumpDipensing >=60)
//		{
//			_PumpDipensing = 1;
//		}
//		osMessageQueuePut(QueueCounterPumpHandle, &_PumpDipensing , 0, 0);
//
//
//
////		osThreadFlagsSet(TaskAlarmCountUHandle, 0x00010000U);
//
//	}
//
//}
//void Parse(void)
//{
//	uint8_t i,j;
//	float EnvParameters[5];
//	char Message[200];
//
//	for ( i = 0; i < 5; i++)
//	{
//		char *ParsePointer = strtok(NULL,",");
//	}
//}

void _putchar(char character)
{
	// send char to console etc.
	osMutexAcquire(MutexPrintfHandle, osWaitForever);
	HAL_UART_Transmit(&huart2, (uint8_t*)&character, 1, 1000);

	osMutexRelease(MutexPrintfHandle);
}

/* USER CODE END Application */
